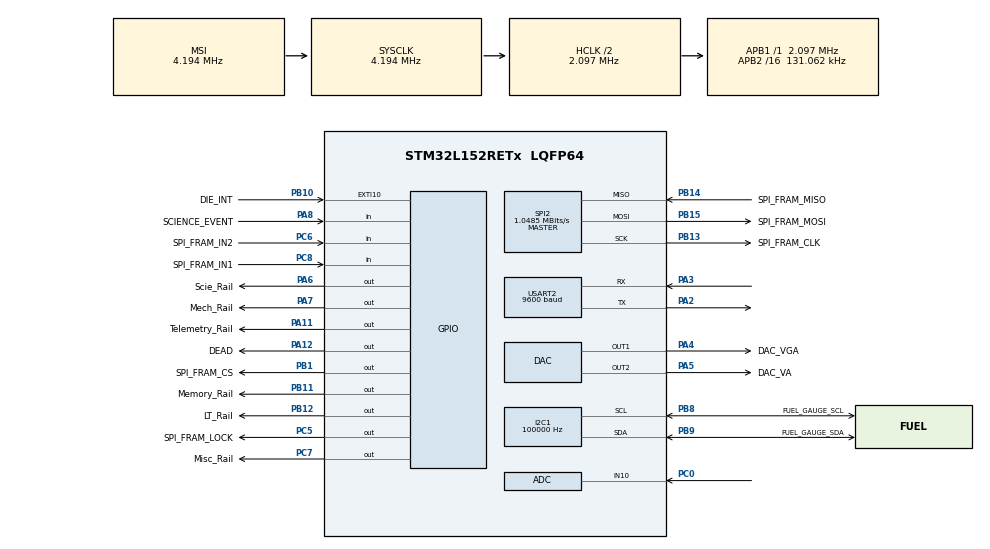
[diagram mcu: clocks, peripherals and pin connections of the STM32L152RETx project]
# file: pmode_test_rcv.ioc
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ADC.Channel-0\#ChannelRegularConversion=ADC_CHANNEL_10
ADC.NbrOfConversionFlag=1
ADC.Rank-0\#ChannelRegularConversion=1
ADC.SamplingTime-0\#ChannelRegularConversion=ADC_SAMPLETIME_4CYCLES
I2C1.ClockSpeed=100000
Mcu.Family=STM32L1
Mcu.Name=STM32L152RETx
Mcu.Package=LQFP64
NVIC.EXTI15_10_IRQn=true\:0\:0\:false\:false\:true\:true
NVIC.PriorityGroup=NVIC_PRIORITYGROUP_4
NVIC.RTC_WKUP_IRQn=true\:0\:0\:false\:false\:true\:true
NVIC.TIM10_IRQn=true\:0\:0\:false\:false\:true\:true
PA11.GPIO_Label=Telemetry_Rail
PA11.Signal=GPIO_Output
PA12.GPIO_Label=DEAD
PA12.Signal=GPIO_Output
PA2.Mode=Asynchronous
PA2.Signal=USART2_TX
PA3.Mode=Asynchronous
PA3.Signal=USART2_RX
PA4.GPIO_Label=DAC_VGA
PA4.Signal=COMP_DAC1_group
PA5.GPIO_Label=DAC_VA
PA5.Signal=COMP_DAC2_group
PA6.GPIO_Label=Scie_Rail
PA6.Signal=GPIO_Output
PA7.GPIO_Label=Mech_Rail
PA7.Signal=GPIO_Output
PA8.GPIO_Label=SCIENCE_EVENT
PA8.Signal=GPIO_Input
PB1.GPIO_Label=SPI_FRAM_CS
PB1.Signal=GPIO_Output
PB10.GPIO_Label=DIE_INT
PB10.Signal=GPXTI10
PB11.GPIO_Label=Memory_Rail
PB11.Signal=GPIO_Output
PB12.GPIO_Label=LT_Rail
PB12.Signal=GPIO_Output
PB13.GPIO_Label=SPI_FRAM_CLK
PB13.Mode=Full_Duplex_Master
PB13.Signal=SPI2_SCK
PB14.GPIO_Label=SPI_FRAM_MISO
PB14.Mode=Full_Duplex_Master
PB14.Signal=SPI2_MISO
PB15.GPIO_Label=SPI_FRAM_MOSI
PB15.Mode=Full_Duplex_Master
PB15.Signal=SPI2_MOSI
PB8.GPIO_Label=FUEL_GAUGE_SCL
PB8.Mode=I2C
PB8.Signal=I2C1_SCL
PB9.GPIO_Label=FUEL_GAUGE_SDA
PB9.Mode=I2C
PB9.Signal=I2C1_SDA
PC0.Mode=IN10
PC0.Signal=ADC_IN10
PC5.GPIO_Label=SPI_FRAM_LOCK
PC5.Signal=GPIO_Output
PC6.GPIO_Label=SPI_FRAM_IN2
PC6.Signal=GPIO_Input
PC7.GPIO_Label=Misc_Rail
PC7.Signal=GPIO_Output
PC8.GPIO_Label=SPI_FRAM_IN1
PC8.Signal=GPIO_Input
ProjectManager.HeapSize=0x200
ProjectManager.StackSize=0x400
ProjectManager.TargetToolchain=MDK-ARM V5
RCC.48MHZClocksFreq_Value=32000000
RCC.AHBCLKDivider=RCC_SYSCLK_DIV2
RCC.AHBFreq_Value=2097000
RCC.APB1Freq_Value=2097000
RCC.APB1TimFreq_Value=2097000
RCC.APB2CLKDivider=RCC_HCLK_DIV16
RCC.APB2Freq_Value=131062.5
RCC.APB2TimFreq_Value=262125
RCC.HCLKFreq_Value=2097000
RCC.HSE_VALUE=24000000
RCC.HSI_VALUE=16000000
RCC.LSE_VALUE=32768
RCC.MSIClockRange=RCC_MSIRANGE_6
RCC.MSI_VALUE=4194000
RCC.PLLMUL=RCC_PLL_MUL4
RCC.SYSCLKFreq_VALUE=4194000
RCC.VCOOutputFreq_Value=64000000
SH.COMP_DAC1_group.0=DAC_OUT1,DAC_OUT1
SH.COMP_DAC2_group.0=DAC_OUT2,DAC_OUT2
SPI2.BaudRatePrescaler=SPI_BAUDRATEPRESCALER_2
SPI2.CalculateBaudRate=1.0485 MBits/s
SPI2.Direction=SPI_DIRECTION_2LINES
SPI2.Mode=SPI_MODE_MASTER
SPI2.VirtualType=VM_MASTER
TIM10.ClockDivision=TIM_CLOCKDIVISION_DIV4
TIM10.Period=65535
USART2.BaudRate=9600
USART2.VirtualMode=VM_ASYNC
VP_RTC_VS_RTC_Activate.Mode=RTC_Enabled
VP_RTC_VS_RTC_Calendar.Mode=RTC_Calendar
VP_RTC_VS_RTC_WakeUp_intern.Mode=WakeUp
VP_TIM10_VS_ClockSourceINT.Mode=Internal
board=custom

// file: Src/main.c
/* USER CODE BEGIN Header */
/**
  ******************************************************************************
  * @file           : main.c
  * @brief          : Main program body
  ******************************************************************************
  ** This notice applies to any and all portions of this file
  * that are not between comment pairs USER CODE BEGIN and
  * USER CODE END. Other portions of this file, whether
  * inserted by the user or by software development tools
  * are owned by their respective copyright owners.
  *
  * COPYRIGHT(c) 2019 STMicroelectronics
  *
  * Redistribution and use in source and binary forms, with or without modification,
  * are permitted provided that the following conditions are met:
  *   1. Redistributions of source code must retain the above copyright notice,
  *      this list of conditions and the following disclaimer.
  *   2. Redistributions in binary form must reproduce the above copyright notice,
  *      this list of conditions and the following disclaimer in the documentation
  *      and/or other materials provided with the distribution.
  *   3. Neither the name of STMicroelectronics nor the names of its contributors
  *      may be used to endorse or promote products derived from this software
  *      without specific prior written permission.
  *
  * THIS SOFTWARE IS PROVIDED BY THE COPYRIGHT HOLDERS AND CONTRIBUTORS "AS IS"
  * AND ANY EXPRESS OR IMPLIED WARRANTIES, INCLUDING, BUT NOT LIMITED TO, THE
  * IMPLIED WARRANTIES OF MERCHANTABILITY AND FITNESS FOR A PARTICULAR PURPOSE ARE
  * DISCLAIMED. IN NO EVENT SHALL THE COPYRIGHT HOLDER OR CONTRIBUTORS BE LIABLE
  * FOR ANY DIRECT, INDIRECT, INCIDENTAL, SPECIAL, EXEMPLARY, OR CONSEQUENTIAL
  * DAMAGES (INCLUDING, BUT NOT LIMITED TO, PROCUREMENT OF SUBSTITUTE GOODS OR
  * SERVICES; LOSS OF USE, DATA, OR PROFITS; OR BUSINESS INTERRUPTION) HOWEVER
  * CAUSED AND ON ANY THEORY OF LIABILITY, WHETHER IN CONTRACT, STRICT LIABILITY,
  * OR TORT (INCLUDING NEGLIGENCE OR OTHERWISE) ARISING IN ANY WAY OUT OF THE USE
  * OF THIS SOFTWARE, EVEN IF ADVISED OF THE POSSIBILITY OF SUCH DAMAGE.
  *
  ******************************************************************************
  */
/* USER CODE END Header */

#include "main.h"

/* USER CODE BEGIN Includes */
#include <stdarg.h>
#include "PowerModes.h"
#include "agc.h"
/* USER CODE END Includes */

ADC_HandleTypeDef hadc;

DAC_HandleTypeDef hdac;

I2C_HandleTypeDef hi2c1;

RTC_HandleTypeDef hrtc;

SPI_HandleTypeDef hspi2;

TIM_HandleTypeDef htim10;

UART_HandleTypeDef huart2;

void SystemClock_Config(void);
static void MX_GPIO_Init(void);
static void MX_SPI2_Init(void);
static void MX_USART2_UART_Init(void);
static void MX_I2C1_Init(void);
static void MX_ADC_Init(void);
static void MX_DAC_Init(void);
static void MX_RTC_Init(void);
static void MX_TIM10_Init(void);
/* USER CODE BEGIN PFP */
void my_printf(const char *fmt, ...);
/* USER CODE END PFP */

int main(void)
{

  /* MCU Configuration--------------------------------------------------------*/

  /* Reset of all peripherals, Initializes the Flash interface and the Systick. */
  HAL_Init();

  /* Configure the system clock */
  SystemClock_Config();

  /* USER CODE BEGIN SysInit */
	__HAL_RCC_DAC_CLK_ENABLE();
  /* USER CODE END SysInit */

  /* Initialize all configured peripherals */
  MX_GPIO_Init();
  MX_SPI2_Init();
  MX_USART2_UART_Init();
  MX_I2C1_Init();
  MX_ADC_Init();
  MX_DAC_Init();
  MX_RTC_Init();
  MX_TIM10_Init();
  /* USER CODE BEGIN 2 */
	Power_Modes_State_Machine_Init(&hi2c1, &hspi2, &huart2, &htim10);

	HAL_ADC_Start(&hadc);
	DAC->CR |= DAC_CR_EN1;
	DAC->CR |= DAC_CR_EN2;
	AGC_Init();

	// Used for debugging when the satellite is dead or seeing additional AGC data
	#define debugKill  (0)
	#define debugAGC   (0)

	// Track the state of the power modes
	uint8_t alive = 0;

	#if (debugKill)
		char msg[50] = "\nI'm dead!!! :(\n";
	#endif

	#if (debugAGC)
		uint32_t ticks = 0;
	#endif

  /* USER CODE END 2 */

  /* Infinite loop */
  /* USER CODE BEGIN WHILE */
		my_printf("Begin AGC/PowerModes Operation\n");

    while (1)
    {
			// Run power modes code
			if (alive != Kill)
			{
				alive = Power_Modes_State_Machine_Run();
			}
			else
			{
				#if (debugKill)
					HAL_UART_Transmit(&huart2, (uint8_t *)msg, sizeof(msg), 30);
					for (int i = 0; i < 100000; i++);
				#endif
			}

			// Run AGC code
			#if (debugAGC)
				ticks = HAL_GetTick();
			#endif

			AGC_DoEvent();

			#if (debugAGC)
				my_printf("XX %d\n", (HAL_GetTick() - ticks));
			#endif
    /* USER CODE END WHILE */

  }
}

void SystemClock_Config(void)
{
  RCC_OscInitTypeDef RCC_OscInitStruct = {0};
  RCC_ClkInitTypeDef RCC_ClkInitStruct = {0};
  RCC_PeriphCLKInitTypeDef PeriphClkInit = {0};

  /**Configure the main internal regulator output voltage
  */
  __HAL_PWR_VOLTAGESCALING_CONFIG(PWR_REGULATOR_VOLTAGE_SCALE1);
  /**Initializes the CPU, AHB and APB busses clocks
  */
  RCC_OscInitStruct.OscillatorType = RCC_OSCILLATORTYPE_HSI|RCC_OSCILLATORTYPE_LSI
                              |RCC_OSCILLATORTYPE_MSI;
  RCC_OscInitStruct.HSIState = RCC_HSI_ON;
  RCC_OscInitStruct.HSICalibrationValue = RCC_HSICALIBRATION_DEFAULT;
  RCC_OscInitStruct.LSIState = RCC_LSI_ON;
  RCC_OscInitStruct.MSIState = RCC_MSI_ON;
  RCC_OscInitStruct.MSICalibrationValue = 0;
  RCC_OscInitStruct.MSIClockRange = RCC_MSIRANGE_6;
  RCC_OscInitStruct.PLL.PLLState = RCC_PLL_NONE;
  if (HAL_RCC_OscConfig(&RCC_OscInitStruct) != HAL_OK)
  {
    Error_Handler();
  }
  /**Initializes the CPU, AHB and APB busses clocks
  */
  RCC_ClkInitStruct.ClockType = RCC_CLOCKTYPE_HCLK|RCC_CLOCKTYPE_SYSCLK
                              |RCC_CLOCKTYPE_PCLK1|RCC_CLOCKTYPE_PCLK2;
  RCC_ClkInitStruct.SYSCLKSource = RCC_SYSCLKSOURCE_MSI;
  RCC_ClkInitStruct.AHBCLKDivider = RCC_SYSCLK_DIV2;
  RCC_ClkInitStruct.APB1CLKDivider = RCC_HCLK_DIV1;
  RCC_ClkInitStruct.APB2CLKDivider = RCC_HCLK_DIV16;

  if (HAL_RCC_ClockConfig(&RCC_ClkInitStruct, FLASH_LATENCY_0) != HAL_OK)
  {
    Error_Handler();
  }
  PeriphClkInit.PeriphClockSelection = RCC_PERIPHCLK_RTC;
  PeriphClkInit.RTCClockSelection = RCC_RTCCLKSOURCE_LSI;
  if (HAL_RCCEx_PeriphCLKConfig(&PeriphClkInit) != HAL_OK)
  {
    Error_Handler();
  }
}

static void MX_ADC_Init(void)
{

  ADC_ChannelConfTypeDef sConfig = {0};

  /**Configure the global features of the ADC (Clock, Resolution, Data Alignment and number of conversion)
  */
  hadc.Instance = ADC1;
  hadc.Init.ClockPrescaler = ADC_CLOCK_ASYNC_DIV1;
  hadc.Init.Resolution = ADC_RESOLUTION_12B;
  hadc.Init.DataAlign = ADC_DATAALIGN_RIGHT;
  hadc.Init.ScanConvMode = ADC_SCAN_DISABLE;
  hadc.Init.EOCSelection = ADC_EOC_SEQ_CONV;
  hadc.Init.LowPowerAutoWait = ADC_AUTOWAIT_DISABLE;
  hadc.Init.LowPowerAutoPowerOff = ADC_AUTOPOWEROFF_DISABLE;
  hadc.Init.ChannelsBank = ADC_CHANNELS_BANK_A;
  hadc.Init.ContinuousConvMode = DISABLE;
  hadc.Init.NbrOfConversion = 1;
  hadc.Init.DiscontinuousConvMode = DISABLE;
  hadc.Init.ExternalTrigConv = ADC_SOFTWARE_START;
  hadc.Init.ExternalTrigConvEdge = ADC_EXTERNALTRIGCONVEDGE_NONE;
  hadc.Init.DMAContinuousRequests = DISABLE;
  if (HAL_ADC_Init(&hadc) != HAL_OK)
  {
    Error_Handler();
  }
  /**Configure for the selected ADC regular channel its corresponding rank in the sequencer and its sample time.
  */
  sConfig.Channel = ADC_CHANNEL_10;
  sConfig.Rank = ADC_REGULAR_RANK_1;
  sConfig.SamplingTime = ADC_SAMPLETIME_4CYCLES;
  if (HAL_ADC_ConfigChannel(&hadc, &sConfig) != HAL_OK)
  {
    Error_Handler();
  }

}

static void MX_DAC_Init(void)
{

  DAC_ChannelConfTypeDef sConfig = {0};

  /**DAC Initialization
  */
  hdac.Instance = DAC;
  if (HAL_DAC_Init(&hdac) != HAL_OK)
  {
    Error_Handler();
  }
  /**DAC channel OUT1 config
  */
  sConfig.DAC_Trigger = DAC_TRIGGER_NONE;
  sConfig.DAC_OutputBuffer = DAC_OUTPUTBUFFER_ENABLE;
  if (HAL_DAC_ConfigChannel(&hdac, &sConfig, DAC_CHANNEL_1) != HAL_OK)
  {
    Error_Handler();
  }
  /**DAC channel OUT2 config
  */
  if (HAL_DAC_ConfigChannel(&hdac, &sConfig, DAC_CHANNEL_2) != HAL_OK)
  {
    Error_Handler();
  }

}

static void MX_I2C1_Init(void)
{

  hi2c1.Instance = I2C1;
  hi2c1.Init.ClockSpeed = 100000;
  hi2c1.Init.DutyCycle = I2C_DUTYCYCLE_2;
  hi2c1.Init.OwnAddress1 = 0;
  hi2c1.Init.AddressingMode = I2C_ADDRESSINGMODE_7BIT;
  hi2c1.Init.DualAddressMode = I2C_DUALADDRESS_DISABLE;
  hi2c1.Init.OwnAddress2 = 0;
  hi2c1.Init.GeneralCallMode = I2C_GENERALCALL_DISABLE;
  hi2c1.Init.NoStretchMode = I2C_NOSTRETCH_DISABLE;
  if (HAL_I2C_Init(&hi2c1) != HAL_OK)
  {
    Error_Handler();
  }

}

static void MX_RTC_Init(void)
{

  RTC_TimeTypeDef sTime = {0};
  RTC_DateTypeDef sDate = {0};

  /**Initialize RTC Only
  */
  hrtc.Instance = RTC;
  hrtc.Init.HourFormat = RTC_HOURFORMAT_24;
  hrtc.Init.AsynchPrediv = 127;
  hrtc.Init.SynchPrediv = 255;
  hrtc.Init.OutPut = RTC_OUTPUT_DISABLE;
  hrtc.Init.OutPutPolarity = RTC_OUTPUT_POLARITY_HIGH;
  hrtc.Init.OutPutType = RTC_OUTPUT_TYPE_OPENDRAIN;
  if (HAL_RTC_Init(&hrtc) != HAL_OK)
  {
    Error_Handler();
  }

  /**Initialize RTC and set the Time and Date
  */
  sTime.Hours = 0x0;
  sTime.Minutes = 0x0;
  sTime.Seconds = 0x0;
  sTime.DayLightSaving = RTC_DAYLIGHTSAVING_NONE;
  sTime.StoreOperation = RTC_STOREOPERATION_RESET;
  if (HAL_RTC_SetTime(&hrtc, &sTime, RTC_FORMAT_BCD) != HAL_OK)
  {
    Error_Handler();
  }
  sDate.WeekDay = RTC_WEEKDAY_MONDAY;
  sDate.Month = RTC_MONTH_JANUARY;
  sDate.Date = 0x1;
  sDate.Year = 0x0;

  if (HAL_RTC_SetDate(&hrtc, &sDate, RTC_FORMAT_BCD) != HAL_OK)
  {
    Error_Handler();
  }
  /**Enable the WakeUp
  */
  if (HAL_RTCEx_SetWakeUpTimer_IT(&hrtc, 0, RTC_WAKEUPCLOCK_RTCCLK_DIV16) != HAL_OK)
  {
    Error_Handler();
  }

}

static void MX_SPI2_Init(void)
{

  /* SPI2 parameter configuration*/
  hspi2.Instance = SPI2;
  hspi2.Init.Mode = SPI_MODE_MASTER;
  hspi2.Init.Direction = SPI_DIRECTION_2LINES;
  hspi2.Init.DataSize = SPI_DATASIZE_8BIT;
  hspi2.Init.CLKPolarity = SPI_POLARITY_LOW;
  hspi2.Init.CLKPhase = SPI_PHASE_1EDGE;
  hspi2.Init.NSS = SPI_NSS_SOFT;
  hspi2.Init.BaudRatePrescaler = SPI_BAUDRATEPRESCALER_2;
  hspi2.Init.FirstBit = SPI_FIRSTBIT_MSB;
  hspi2.Init.TIMode = SPI_TIMODE_DISABLE;
  hspi2.Init.CRCCalculation = SPI_CRCCALCULATION_DISABLE;
  hspi2.Init.CRCPolynomial = 10;
  if (HAL_SPI_Init(&hspi2) != HAL_OK)
  {
    Error_Handler();
  }

}

static void MX_TIM10_Init(void)
{

  TIM_ClockConfigTypeDef sClockSourceConfig = {0};

  htim10.Instance = TIM10;
  htim10.Init.Prescaler = 0;
  htim10.Init.CounterMode = TIM_COUNTERMODE_UP;
  htim10.Init.Period = 65535;
  htim10.Init.ClockDivision = TIM_CLOCKDIVISION_DIV4;
  if (HAL_TIM_Base_Init(&htim10) != HAL_OK)
  {
    Error_Handler();
  }
  sClockSourceConfig.ClockSource = TIM_CLOCKSOURCE_INTERNAL;
  if (HAL_TIM_ConfigClockSource(&htim10, &sClockSourceConfig) != HAL_OK)
  {
    Error_Handler();
  }

}

static void MX_USART2_UART_Init(void)
{

  huart2.Instance = USART2;
  huart2.Init.BaudRate = 9600;
  huart2.Init.WordLength = UART_WORDLENGTH_8B;
  huart2.Init.StopBits = UART_STOPBITS_1;
  huart2.Init.Parity = UART_PARITY_NONE;
  huart2.Init.Mode = UART_MODE_TX_RX;
  huart2.Init.HwFlowCtl = UART_HWCONTROL_NONE;
  huart2.Init.OverSampling = UART_OVERSAMPLING_16;
  if (HAL_UART_Init(&huart2) != HAL_OK)
  {
    Error_Handler();
  }

}

static void MX_GPIO_Init(void)
{
  GPIO_InitTypeDef GPIO_InitStruct = {0};

  /* GPIO Ports Clock Enable */
  __HAL_RCC_GPIOC_CLK_ENABLE();
  __HAL_RCC_GPIOA_CLK_ENABLE();
  __HAL_RCC_GPIOB_CLK_ENABLE();

  /*Configure GPIO pin Output Level */
  HAL_GPIO_WritePin(GPIOA, Scie_Rail_Pin|Mech_Rail_Pin|Telemetry_Rail_Pin|DEAD_Pin, GPIO_PIN_RESET);

  /*Configure GPIO pin Output Level */
  HAL_GPIO_WritePin(GPIOC, SPI_FRAM_LOCK_Pin|Misc_Rail_Pin, GPIO_PIN_RESET);

  /*Configure GPIO pin Output Level */
  HAL_GPIO_WritePin(GPIOB, SPI_FRAM_CS_Pin|Memory_Rail_Pin|LT_Rail_Pin, GPIO_PIN_RESET);

  /*Configure GPIO pins : Scie_Rail_Pin Mech_Rail_Pin Telemetry_Rail_Pin DEAD_Pin */
  GPIO_InitStruct.Pin = Scie_Rail_Pin|Mech_Rail_Pin|Telemetry_Rail_Pin|DEAD_Pin;
  GPIO_InitStruct.Mode = GPIO_MODE_OUTPUT_PP;
  GPIO_InitStruct.Pull = GPIO_NOPULL;
  GPIO_InitStruct.Speed = GPIO_SPEED_FREQ_LOW;
  HAL_GPIO_Init(GPIOA, &GPIO_InitStruct);

  /*Configure GPIO pins : SPI_FRAM_LOCK_Pin Misc_Rail_Pin */
  GPIO_InitStruct.Pin = SPI_FRAM_LOCK_Pin|Misc_Rail_Pin;
  GPIO_InitStruct.Mode = GPIO_MODE_OUTPUT_PP;
  GPIO_InitStruct.Pull = GPIO_NOPULL;
  GPIO_InitStruct.Speed = GPIO_SPEED_FREQ_LOW;
  HAL_GPIO_Init(GPIOC, &GPIO_InitStruct);

  /*Configure GPIO pins : SPI_FRAM_CS_Pin Memory_Rail_Pin LT_Rail_Pin */
  GPIO_InitStruct.Pin = SPI_FRAM_CS_Pin|Memory_Rail_Pin|LT_Rail_Pin;
  GPIO_InitStruct.Mode = GPIO_MODE_OUTPUT_PP;
  GPIO_InitStruct.Pull = GPIO_NOPULL;
  GPIO_InitStruct.Speed = GPIO_SPEED_FREQ_LOW;
  HAL_GPIO_Init(GPIOB, &GPIO_InitStruct);

  /*Configure GPIO pin : DIE_INT_Pin */
  GPIO_InitStruct.Pin = DIE_INT_Pin;
  GPIO_InitStruct.Mode = GPIO_MODE_IT_RISING;
  GPIO_InitStruct.Pull = GPIO_NOPULL;
  HAL_GPIO_Init(DIE_INT_GPIO_Port, &GPIO_InitStruct);

  /*Configure GPIO pins : SPI_FRAM_IN2_Pin SPI_FRAM_IN1_Pin */
  GPIO_InitStruct.Pin = SPI_FRAM_IN2_Pin|SPI_FRAM_IN1_Pin;
  GPIO_InitStruct.Mode = GPIO_MODE_INPUT;
  GPIO_InitStruct.Pull = GPIO_NOPULL;
  HAL_GPIO_Init(GPIOC, &GPIO_InitStruct);

  /*Configure GPIO pin : SCIENCE_EVENT_Pin */
  GPIO_InitStruct.Pin = SCIENCE_EVENT_Pin;
  GPIO_InitStruct.Mode = GPIO_MODE_INPUT;
  GPIO_InitStruct.Pull = GPIO_NOPULL;
  HAL_GPIO_Init(SCIENCE_EVENT_GPIO_Port, &GPIO_InitStruct);

  /* EXTI interrupt init*/
  HAL_NVIC_SetPriority(EXTI15_10_IRQn, 0, 0);
  HAL_NVIC_EnableIRQ(EXTI15_10_IRQn);

}

/* USER CODE BEGIN 4 */
//#ifdef USE_DEBUG_PRINTF
/**
 * Print a printf-like string to the UART
 *
 * \param fmt	printf format string
 * \param argp	variable argument list
 */
static void vprint(const char *fmt, va_list argp) {
    char string[400];
    if(0 < vsprintf(string,fmt,argp)) // build string
    {
        HAL_UART_Transmit(&huart2, (uint8_t*)string, strlen(string), 1000); // send message via UART
    }
}
//#endif

/**
 * Custom printf that prints to the UART.
 * If the preprocessor USE_DEBUG_PRINTF is not defined, then it does nothing.
 * I would use the syscalls but those didn't work for some reason.
 *
 * \param fmt	printf format string
 */
void my_printf(const char *fmt, ...) // custom printf() function
{
#ifdef USE_DEBUG_PRINTF
    va_list argp;
    va_start(argp, fmt);
    vprint(fmt, argp);
    va_end(argp);
#endif
}

#if 1
static void GPIO_DeInit(void)
{
    // set the configuration for the GPIO ports (PA, PB, PC) to be analog inputs for low power
    GPIO_InitTypeDef GPIO_InitStructure = {0};
    GPIO_InitStructure.Pin = GPIO_PIN_All;
    GPIO_InitStructure.Mode = GPIO_MODE_ANALOG;
    GPIO_InitStructure.Pull = GPIO_NOPULL;

    // GPIO_A is preserved to keep output status unchanged and have
    // Interrupt working for waking Up.
    // GPIO_B and GPIO_C are disabled
    HAL_GPIO_Init(GPIOB, &GPIO_InitStructure);
    __HAL_RCC_GPIOB_CLK_DISABLE();
    HAL_GPIO_Init(GPIOC, &GPIO_InitStructure);
    __HAL_RCC_GPIOC_CLK_DISABLE();
}

void HAL_Delay(__IO uint32_t Delay)
{
    // the RTC is clocked by LSI, which means Wake Up clock is RTCCLK /16
    uint32_t TimeValue = (Delay * (LSI_VALUE / 16)) / 1000;
    HAL_RTCEx_SetWakeUpTimer_IT(&hrtc, TimeValue, RTC_WAKEUPCLOCK_RTCCLK_DIV16);

    __HAL_RCC_PWR_CLK_ENABLE(); // Enable Power Control clock
    HAL_PWREx_EnableUltraLowPower(); // Ultra low power mode
    HAL_PWREx_EnableFastWakeUp(); // Fast wake-up for ultra low power mode

    // turn off GPIO to save power
//    GPIO_DeInit();

    HAL_ADC_DeInit(&hadc);
    HAL_UART_DeInit(&huart2);
    HAL_SPI_DeInit(&hspi2);
    HAL_I2C_DeInit(&hi2c1);

    // switch to STOP mode
    // the microcontroller is sleeping in this function. It will resume on interrupt
    EXTI->PR = 0xFFFFFFFF; // https://community.st.com/s/question/0D50X00009Xke5iSAB/enter-and-exit-stop-mode-with-rtc-and-exti
    HAL_PWR_EnterSTOPMode(PWR_LOWPOWERREGULATOR_ON, PWR_STOPENTRY_WFI);

    // Now we're waking up, so set up clocks again
    SystemClock_Config();

    // Deactivate RTC wakeUp
    HAL_RTCEx_DeactivateWakeUpTimer(&hrtc);

    // Reinit GPIOs
//    MX_GPIO_Init();
    MX_SPI2_Init();
    MX_USART2_UART_Init();
    MX_I2C1_Init();
    MX_ADC_Init();
    HAL_ADC_Start(&hadc);

}
#endif

/* USER CODE END 4 */

void Error_Handler(void)
{
}

/************************ (C) COPYRIGHT STMicroelectronics *****END OF FILE****/
